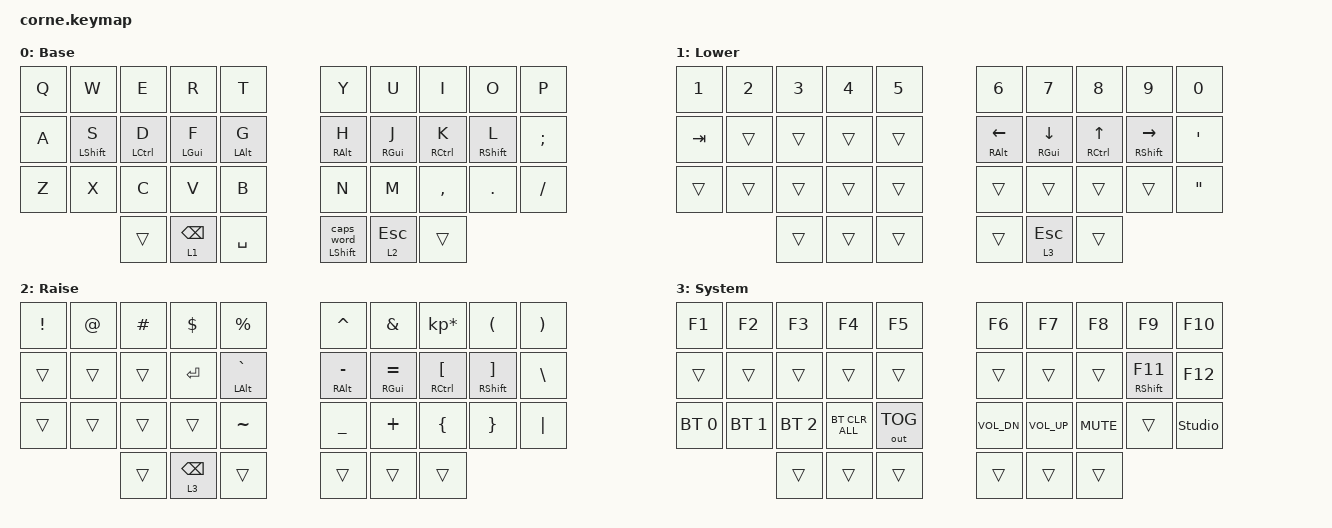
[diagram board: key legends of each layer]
/*
 * Copyright (c) 2020 The ZMK Contributors
 *
 * SPDX-License-Identifier: MIT
 */

#include <behaviors.dtsi>
#include <dt-bindings/zmk/keys.h>
#include <dt-bindings/zmk/bt.h>
#include <dt-bindings/zmk/outputs.h>

&lt {
    quick-tap-ms = <200>;
    flavor = "hold-preferred";
};

/ {
        chosen {
                zmk,physical-layout = &foostan_corne_5col_layout;
        };

        behaviors {
                hml: home_row_mod_left {
                    compatible = "zmk,behavior-hold-tap";
                    #binding-cells = <2>;
                    flavor = "balanced";
                    require-prior-idle-ms = <150>;
                    tapping-term-ms = <280>;
                    quick-tap-ms = <175>;
                    bindings = <&kp>, <&kp>;
                    hold-trigger-key-positions = < 5 6 7 8 9 15 16 17 18 19 25 26 27 28 29 33 34 35 >; // List of keys on the right side of the keyboard
                    hold-trigger-on-release;
                };
                hmr: home_row_mod_right {
                    compatible = "zmk,behavior-hold-tap";
                    #binding-cells = <2>;
                    flavor = "balanced";
                    require-prior-idle-ms = <150>;
                    tapping-term-ms = <280>;
                    quick-tap-ms = <175>;
                    bindings = <&kp>, <&kp>;
                    hold-trigger-key-positions = < 0 1 2 3 4 10 11 12 13 14 20 21 22 23 24 30 31 32 >; // List of keys on the left side of the keyboard
                    hold-trigger-on-release;
                };
                ms: magic_shift {
                    compatible = "zmk,behavior-hold-tap";
                    #binding-cells = <2>;
                    tapping-term-ms = <200>;
                    quick-tap-ms = <175>;
                    flavor = "balanced";
                    bindings = <&kp>, <&caps_word>;
                };
        };
        
        keymap {
                compatible = "zmk,keymap";

                default_layer {
                        display-name = "Base";
                        bindings = <
   &kp Q &kp W        &kp E        &kp R       &kp T           &kp Y       &kp U       &kp I        &kp O        &kp P   
   &kp A &hml LSHFT S &hml LCTRL D &hml LGUI F &hml LALT G     &hmr RALT H &hmr RGUI J &hmr RCTRL K &hmr RSHFT L &kp SEMI
   &kp Z &kp X        &kp C        &kp V       &kp B           &kp N       &kp M       &kp COMMA    &kp DOT      &kp FSLH
                      &trans       &lt 1 BSPC  &kp SPACE       &ms LSHFT 0 &lt 2 ESC   &trans
                        >;
                };
                lower_layer {
                        display-name = "Lower";
                        bindings = <
   &kp N1  &kp N2 &kp N3 &kp N4 &kp N5      &kp N6         &kp N7         &kp N8        &kp N9           &kp N0 
   &kp TAB &trans &trans &trans &trans      &hmr RALT LEFT &hmr RGUI DOWN &hmr RCTRL UP &hmr RSHFT RIGHT &kp SQT
   &trans  &trans &trans &trans &trans      &trans         &trans         &trans        &trans           &kp DQT
                  &trans &trans &trans      &trans         &lt 3 ESC      &trans
                        >;
                };

                raise_layer {
                        display-name = "Raise";
                        bindings = <
   &kp EXCL &kp AT &kp HASH &kp DLLR   &kp PRCNT            &kp CARET       &kp AMPS        &kp KP_MULTIPLY &kp LPAR        &kp RPAR
   &trans   &trans &trans   &kp RET    &hml LALT GRAVE      &hmr RALT MINUS &hmr RGUI EQUAL &hmr RCTRL LBKT &hmr RSHFT RBKT &kp BSLH
   &trans   &trans &trans   &trans     &kp TILDE            &kp UNDER       &kp PLUS        &kp LBRC        &kp RBRC        &kp PIPE
                   &trans   &lt 3 BSPC &trans               &trans          &trans          &trans
                        >;
                };

                sys_layer {
                        label = "System";
                        bindings = <
   &kp F1       &kp F2       &kp F3       &kp F4         &kp F5            &kp F6       &kp F7       &kp F8     &kp F9         &kp F10
   &trans       &trans       &trans       &trans         &trans            &trans       &trans       &trans     &hmr RSHFT F11 &kp F12
   &bt BT_SEL 0 &bt BT_SEL 1 &bt BT_SEL 2 &bt BT_CLR_ALL &out OUT_TOG      &kp K_VOL_DN &kp K_VOL_UP &kp K_MUTE &trans         &studio_unlock 
                    	     &trans       &trans         &trans            &trans       &trans       &trans
                        >;
                };

                extra_1 {
                        status = "reserved";
                };

                extra_2 {
                        status = "reserved";
                };

                extra_3 {
                        status = "reserved";
                };
        };
};
